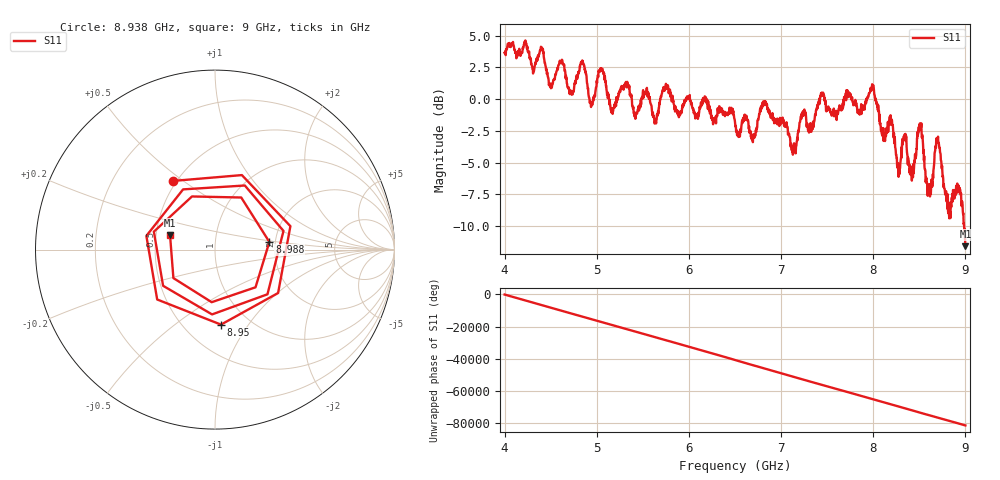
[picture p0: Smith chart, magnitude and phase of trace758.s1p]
! Created with skrf 1.8.0 (http://scikit-rf.org).
# Hz S RI R 50.0
!freq ReS11 ImS11
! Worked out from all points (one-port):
!   1601 points, 4 GHz to 9 GHz, reference 50 ohm
!   lowest |S11| = -11.6 dB at 9 GHz (marker M1), VSWR 1.72, Z = 29.6 + j5.23 ohm
!   |S11| at or under -10 dB: 8.9858 GHz to end of sweep
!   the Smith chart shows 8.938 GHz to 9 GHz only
!   S11 on the Smith chart (normalised r, x): 8.938 GHz: 0.48, +0.46; 8.95 GHz: 0.74, -0.75; 8.988 GHz: 1.86, +0.17; 9 GHz: 0.59, +0.10
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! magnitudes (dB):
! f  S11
! 4 GHz  3.7
! 4.503 GHz  0.9
! 4.625 GHz  3.1
! 4.725 GHz  0.4
! 4.841 GHz  3.0
! 4.934 GHz  -0.3
! 5.044 GHz  2.3
! 5.162 GHz  -0.8
! 5.25 GHz  0.7
! 5.875 GHz  -1.1
! 6.5 GHz  -1.9
! 6.697 GHz  -3.0
! 6.822 GHz  -0.3
! 7.125 GHz  -4.1
! 7.441 GHz  0.5
! 7.75 GHz  0.3
! 7.991 GHz  1.2
! 8.272 GHz  -5.4
! 8.375 GHz  -5.1
! 8.425 GHz  -5.9
! 8.506 GHz  -1.9
! 8.603 GHz  -6.8
! 8.697 GHz  -3.3
! 8.822 GHz  -9.0
! 8.938 GHz  -7.0
! 8.95 GHz  -7.6
! 8.988 GHz  -10.3
! 9 GHz  -11.6
